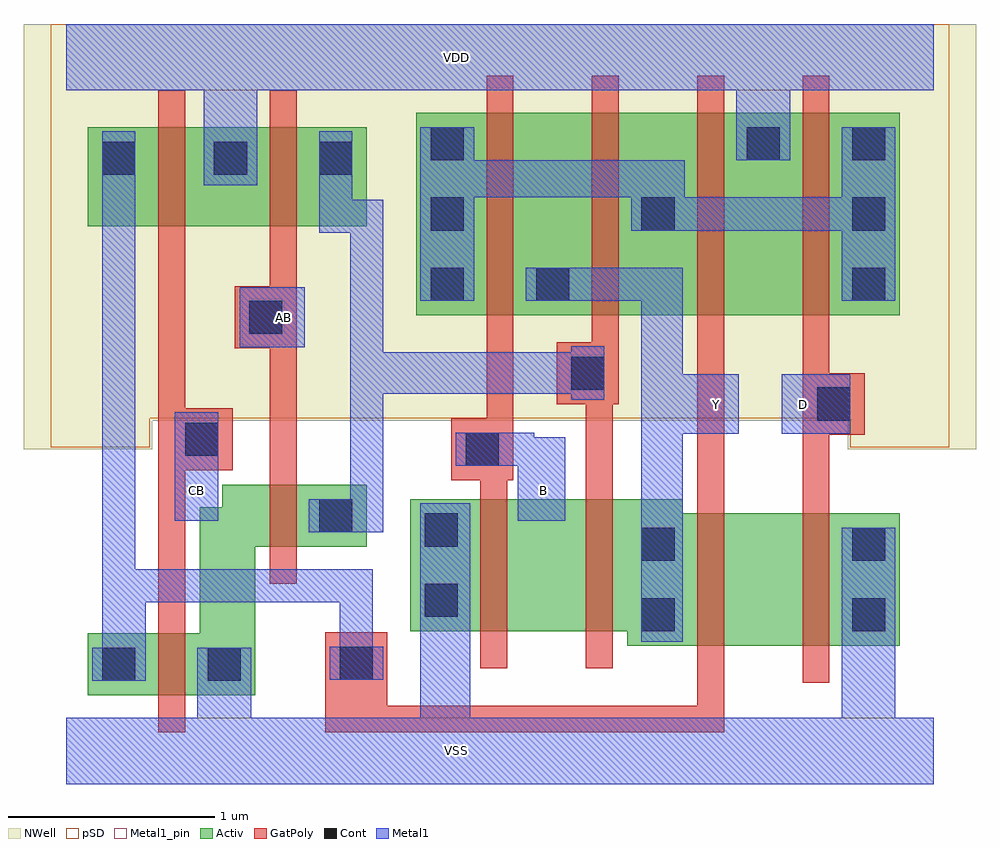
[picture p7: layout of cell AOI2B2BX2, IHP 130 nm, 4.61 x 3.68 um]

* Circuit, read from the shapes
.subckt AOI2B2BX2 AB B CB D VDD VSS Y
XM1 VSS CB n1 VSUBS sg13_lv_nmos w=0.3u l=0.13u
XM2 n2 AB VSS VSUBS sg13_lv_nmos w=0.3u l=0.13u
XM3 n3 B VSS VSUBS sg13_lv_nmos w=0.64u l=0.13u
XM4 Y n2 n3 VSUBS sg13_lv_nmos w=0.64u l=0.13u
XM5 n4 n1 Y VSUBS sg13_lv_nmos w=0.64u l=0.13u
XM6 VSS D n4 VSUBS sg13_lv_nmos w=0.64u l=0.13u
XM7 VDD CB n1 n5 sg13_lv_pmos w=0.48u l=0.13u
XM8 n2 AB VDD n5 sg13_lv_pmos w=0.48u l=0.13u
XM9 Y B n6 n5 sg13_lv_pmos w=0.98u l=0.13u
XM10 n6 n2 Y n5 sg13_lv_pmos w=0.98u l=0.13u
XM11 VDD n1 n6 n5 sg13_lv_pmos w=0.98u l=0.13u
XM12 n6 D VDD n5 sg13_lv_pmos w=0.98u l=0.13u
.ends

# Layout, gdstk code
import gdstk
lib = gdstk.Library(unit=1e-6, precision=1e-09)
def R(c, l, rs):  # rectangles x0, y0, x1, y1
    for r in rs: c.add(gdstk.rectangle(r[:2], r[2:], *l))
def A(c, l, x, y, w, h, nx, ny, dx, dy):  # array of equal rectangles
    R(c, l, [(x+i*dx, y+j*dy, x+i*dx+w, y+j*dy+h) for i in range(nx) for j in range(ny)])
def P(c, l, *ps):  # polygons
    for p in ps: c.add(gdstk.Polygon(p, *l))
Activ = (1, 0)
GatPoly = (5, 0)
Cont = (6, 0)
Metal1 = (8, 0)
Metal1_pin = (8, 2)
pSD = (14, 0)
NWell = (31, 0)

aoi2b2bx2 = lib.new_cell('AOI2B2BX2')
R(aoi2b2bx2, Activ, [(1.695,2.11,4.035,3.09), (0.105,2.54,1.455,3.02)])
P(aoi2b2bx2, Activ, [(2.715,0.51),(2.715,0.58),(1.665,0.58),(1.665,1.22),(2.985,1.22),(2.985,1.15),(4.035,1.15),(4.035,0.51)],
  [(0.105,0.27),(0.105,0.57),(0.645,0.57),(0.645,1.18),(0.755,1.18),(0.755,1.29),(1.455,1.29),(1.455,0.99),(0.915,0.99),(0.915,0.27)])
P(aoi2b2bx2, GatPoly, [(0.985,0.81),(0.985,1.95),(0.815,1.95),(0.815,2.25),(0.985,2.25),(0.985,3.2),(1.115,3.2),(1.115,0.81)],
  [(3.565,0.33),(3.565,3.27),(3.695,3.27),(3.695,1.83),(3.865,1.83),(3.865,1.53),(3.695,1.53),(3.695,0.33)],
  [(0.445,0.09),(0.445,3.2),(0.575,3.2),(0.575,1.66),(0.805,1.66),(0.805,1.36),(0.575,1.36),(0.575,0.09)],
  [(1.255,0.09),(1.255,0.575),(1.555,0.575),(1.555,0.22),(3.055,0.22),(3.055,3.27),(3.185,3.27),(3.185,0.09)],
  [(2.515,0.4),(2.515,1.68),(2.375,1.68),(2.375,1.98),(2.545,1.98),(2.545,3.27),(2.675,3.27),(2.675,1.68),(2.645,1.68),(2.645,0.4)],
  [(2.005,0.4),(2.005,1.31),(1.865,1.31),(1.865,1.61),(2.035,1.61),(2.035,3.27),(2.165,3.27),(2.165,1.31),(2.135,1.31),(2.135,0.4)])
A(aoi2b2bx2, Cont, 1.765, 2.52, 0.16, 0.16, 3, 1, 1.02, 0)
R(aoi2b2bx2, Cont, [(0.175,0.34,0.335,0.5), (0.685,0.34,0.845,0.5), (1.325,0.345,1.485,0.505), (2.785,0.58,2.945,0.74), (3.805,0.58,3.965,0.74), (1.735,0.65,1.895,0.81), (2.785,0.92,2.945,1.08), (3.805,0.92,3.965,1.08), (1.735,0.99,1.895,1.15), (1.225,1.06,1.385,1.22), (1.935,1.38,2.095,1.54), (0.575,1.43,0.735,1.59), (3.635,1.6,3.795,1.76), (2.445,1.75,2.605,1.91), (0.885,2.02,1.045,2.18), (1.765,2.18,1.925,2.34), (2.275,2.18,2.435,2.34), (3.805,2.18,3.965,2.34), (0.175,2.79,0.335,2.95), (0.715,2.79,0.875,2.95), (1.225,2.79,1.385,2.95), (1.765,2.86,1.925,3.02), (3.295,2.86,3.455,3.02), (3.805,2.86,3.965,3.02)])
R(aoi2b2bx2, Metal1, [(0.525,1.115,0.735,1.64), (3.465,1.535,3.795,1.825), (0.84,1.955,1.155,2.245)])
P(aoi2b2bx2, Metal1, [(0,-0.16),(0,0.16),(0.635,0.16),(0.635,0.5),(0.895,0.5),(0.895,0.16),(1.715,0.16),(1.715,1.2),(1.955,1.2),(1.955,0.16),(3.755,0.16),(3.755,1.08),(4.015,1.08),(4.015,0.16),(4.2,0.16),(4.2,-0.16)],
  [(0.665,2.74),(0.665,3.2),(0,3.2),(0,3.52),(4.2,3.52),(4.2,3.2),(3.505,3.2),(3.505,2.86),(3.245,2.86),(3.245,3.2),(0.925,3.2),(0.925,2.74)],
  [(1.715,2.18),(1.715,3.02),(1.975,3.02),(1.975,2.86),(2.995,2.86),(2.995,2.68),(3.755,2.68),(3.755,3.02),(4.015,3.02),(4.015,2.18),(3.755,2.18),(3.755,2.52),(2.735,2.52),(2.735,2.68),(1.975,2.68),(1.975,2.18)],
  [(2.785,0.53),(2.785,2.18),(2.225,2.18),(2.225,2.34),(2.985,2.34),(2.985,1.825),(3.255,1.825),(3.255,1.535),(2.985,1.535),(2.985,0.53)],
  [(1.175,1.06),(1.175,1.22),(1.375,1.22),(1.375,2.51),(1.225,2.51),(1.225,3),(1.385,3),(1.385,2.67),(1.535,2.67),(1.535,1.93),(2.445,1.93),(2.445,1.96),(2.605,1.96),(2.605,1.7),(2.445,1.7),(2.445,1.73),(1.535,1.73),(1.535,1.06)],
  [(2.185,1.115),(2.185,1.38),(1.885,1.38),(1.885,1.54),(2.265,1.54),(2.265,1.52),(2.415,1.52),(2.415,1.115)],
  [(0.125,0.34),(0.125,0.5),(0.175,0.5),(0.175,3),(0.335,3),(0.335,0.88),(1.485,0.88),(1.485,0.505),(1.535,0.505),(1.535,0.345),(1.275,0.345),(1.275,0.505),(1.325,0.505),(1.325,0.72),(0.385,0.72),(0.385,0.34)])
R(aoi2b2bx2, Metal1_pin, [(0,-0.16,4.2,0.16), (0.525,1.115,0.735,1.64), (3.465,1.535,3.795,1.825), (0.84,1.955,1.155,2.245), (0,3.2,4.2,3.52)])
P(aoi2b2bx2, Metal1_pin, [(2.785,0.53),(2.785,2.18),(2.225,2.18),(2.225,2.34),(2.985,2.34),(2.985,1.825),(3.255,1.825),(3.255,1.535),(2.985,1.535),(2.985,0.53)],
  [(2.185,1.115),(2.185,1.38),(1.885,1.38),(1.885,1.54),(2.265,1.54),(2.265,1.52),(2.415,1.52),(2.415,1.115)])
P(aoi2b2bx2, pSD, [(-0.075,1.47),(-0.075,3.52),(4.275,3.52),(4.275,1.47),(3.795,1.47),(3.795,1.61),(0.405,1.61),(0.405,1.47)])
P(aoi2b2bx2, NWell, [(-0.205,1.46),(-0.205,3.52),(4.405,3.52),(4.405,1.46),(3.785,1.46),(3.785,1.6),(0.415,1.6),(0.415,1.46)])
aoi2b2bx2.add(gdstk.Label('AB', (1.05,2.1), layer=8, texttype=25))
aoi2b2bx2.add(gdstk.Label('Y', (3.15,1.68), layer=8, texttype=25))
aoi2b2bx2.add(gdstk.Label('B', (2.31,1.26), layer=8, texttype=25))
aoi2b2bx2.add(gdstk.Label('CB', (0.63,1.26), layer=8, texttype=25))
aoi2b2bx2.add(gdstk.Label('VSS', (1.89,0), layer=8, texttype=25))
aoi2b2bx2.add(gdstk.Label('VDD', (1.89,3.36), layer=8, texttype=25))
aoi2b2bx2.add(gdstk.Label('D', (3.57,1.68), layer=8, texttype=25))

lib.write_gds('AOI2B2BX2.gds')
